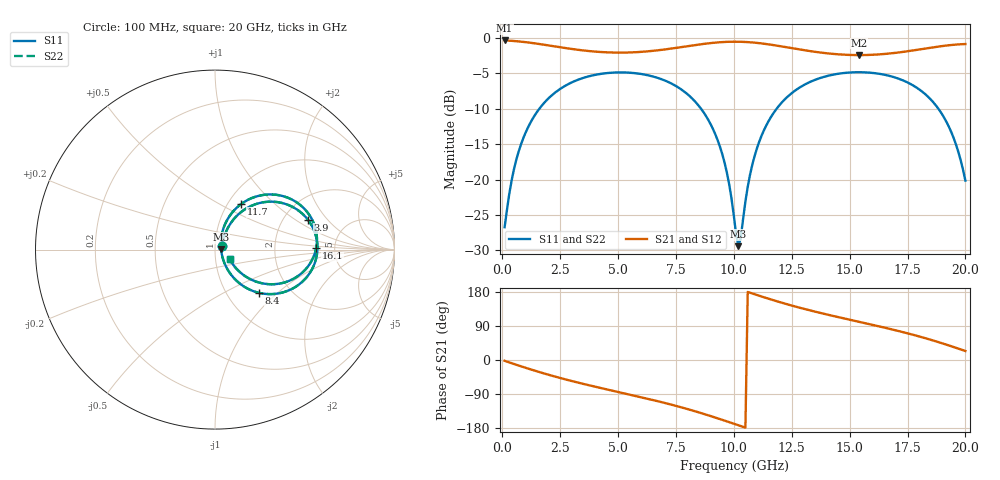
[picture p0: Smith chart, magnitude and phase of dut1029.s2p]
! Touchstone file exported from HFSS 2026.1.0
!  File:  C:/ffzhzh/LocalFiles/Ansys_Project_Files/temp_train_TSV_RDL_1029_1783293747_38704.aedt
!  Generated:  07:37:16 AM Jul  6, 2026
!  Design:  TSV_RDL
!  Project:  temp_train_TSV_RDL_1029_1783293747_38704
! Variables:
!  h_bsmrdl = 3.81um
!  h_ox = 20um
!  h_rdl = 5um
!  h_sub = 96.5um
!  h_tmrdl = 3.11um
!  h_tsv = 96.5um
!  h_via = 3um
!  l_bsmrdl = 444.98um
!  l_sub = 5402.09um
!  l_tmrdl = 893.8um
!  m_sub = 200um
!  pitch = 41.53um
!  r_tsv = 8.33um
!  s_tmrdl = 10um
!  w_bsmrdl = 18.55um
!  w_sub = 500um
!  w_tmrdl = 12.1um
!  x_tsv_center1 = 899.85um
!  x_tsv_center2 = 1363.38um
!  x_tsv_center3 = 2269.28um
!  x_tsv_center4 = 2732.81um
!  x_tsv_center5 = 3638.71um
!  x_tsv_center6 = 4102.24um
# GHz S MA R 50.000000
! Terminal data exported
! Port[1] = TM_RDL1_1_T1
! Port[2] = TM_RDL5_1_T1
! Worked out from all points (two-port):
!   200 points, 100 MHz to 20 GHz, reference 50 ohm
!   highest |S21| = -0.36 dB at 100 MHz (marker M1); lowest = -2.4 dB at 15.4 GHz (marker M2)
!   |S21| within 3 dB of the highest: start of sweep to end of sweep
!   lowest |S11| = -29.4 dB at 10.2 GHz (marker M3), VSWR 1.07, Z = 53.5 + j0.161 ohm
!   |S11| at or under -10 dB: start of sweep to 1.6 GHz; 8.583 GHz to 11.85 GHz (3.265 GHz wide, 32 % of centre); 18.83 GHz to end of sweep
!   |S22| runs from -29.4 to -4.8 dB; largest |S21 - S12| = 1.5e-14
!   S11 on the Smith chart (normalised r, x): 100 MHz: 1.08, +0.05; 3.9 GHz: 2.71, +1.28; 8.4 GHz: 1.41, -0.77; 11.7 GHz: 1.15, +0.64; 16.1 GHz: 3.58, +0.08; 20 GHz: 1.17, -0.13
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0.1  0.04609 27.5  0.9597 -2.1  0.9597 -2.1  0.04609 27.5
! Gamma 0 0 0 0
! Port Impedance 50 0 50 0
0.6  0.137 59.2  0.9484 -12.5  0.9484 -12.5  0.137 59.2
1.2  0.2494 55.6  0.9253 -24.3  0.9253 -24.3  0.2494 55.6
2.2  0.4013 41.7  0.8748 -42.5  0.8748 -42.5  0.4013 41.7
3.5  0.5222 23.2  0.8158 -63.1  0.8158 -63.1  0.5222 23.2
3.9  0.5438 17.8  0.8033 -68.9  0.8033 -68.9  0.5438 17.8
5.4  0.5694 -1.8  0.7885 -89.8  0.7885 -89.8  0.5694 -1.8
6.8  0.5164 -20.6  0.8206 -110.0  0.8206 -110.0  0.5164 -20.6
8.4  0.3446 -44.4  0.8939 -136.6  0.8939 -136.6  0.3446 -44.4
9.5  0.1511 -57.7  0.9346 -157.9  0.9346 -157.9  0.1511 -57.7
9.8  0.09233 -55.0  0.9394 -164.0  0.9394 -164.0  0.09229 -55.1
10.1  0.04085 -26.6  0.9407 -170.2  0.9407 -170.2  0.04074 -26.7
10.2  0.03387 2.5  0.9402 -172.3  0.9402 -172.3  0.03372 2.5
10.8  0.1278 68.3  0.9291 175.5  0.9291 175.5  0.1278 68.4
11.7  0.2925 60.1  0.8907 157.9  0.8907 157.9  0.2925 60.2
13.4  0.4978 35.5  0.8022 129.2  0.8022 129.2  0.4978 35.5
15.4  0.5727 9.6  0.7565 100.9  0.7565 100.9  0.5727 9.6
16.1  0.5636 0.8  0.762 91.2  0.762 91.2  0.5635 0.8
16.7  0.5406 -7.0  0.7756 82.6  0.7756 82.6  0.5406 -7.0
18.8  0.3218 -35.6  0.8672 47.9  0.8672 47.9  0.3217 -35.6
19.5  0.1952 -42.0  0.8949 34.1  0.8949 34.1  0.195 -42.1
20  0.09823 -33.6  0.9052 23.7  0.9052 23.7  0.09801 -33.8
